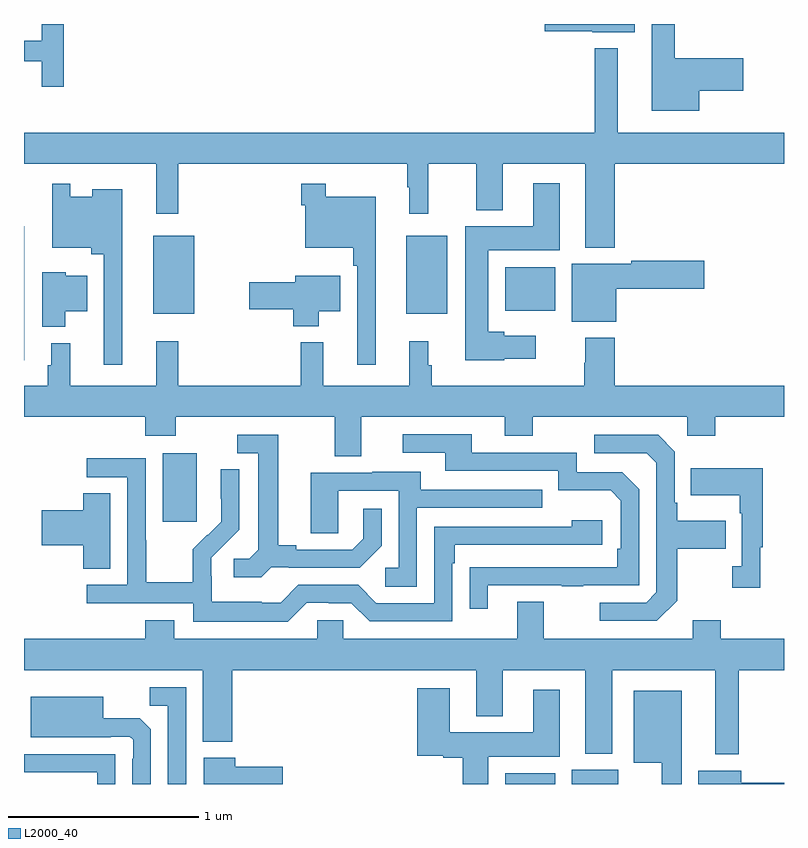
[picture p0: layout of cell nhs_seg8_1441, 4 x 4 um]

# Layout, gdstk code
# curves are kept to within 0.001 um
import gdstk
lib = gdstk.Library(unit=1e-6, precision=1e-09)
def R(c, l, rs):  # rectangles x0, y0, x1, y1
    for r in rs: c.add(gdstk.rectangle(r[:2], r[2:], *l))
def P(c, l, *ps):  # polygons
    for p in ps: c.add(gdstk.Polygon(p, *l))
L2000_40 = (2000, 40)

nhs_seg8_1441 = lib.new_cell('nhs_seg8_1441')
R(nhs_seg8_1441, L2000_40, [(205.532,1115.9,205.795,1115.956), (205.883,1115.9,206.128,1115.974), (203.729,1117.281,203.908,1117.642), (203,1118.129,203.002,1118.836), (203.681,1118.375,203.896,1118.785), (205.013,1118.375,205.228,1118.785), (205.532,1118.39,205.795,1118.62)])
P(nhs_seg8_1441, L2000_40, [(203.21,1119.9),(203.094,1119.9),(203.094,1119.813),(203,1119.813),(203,1119.705),(203.093,1119.705),(203.093,1119.57),(203.21,1119.57)],
  [(206.554,1119.548),(206.785,1119.548),(206.785,1119.719),(206.425,1119.719),(206.425,1119.9),(206.303,1119.9),(206.303,1119.443),(206.554,1119.443)],
  [(206.215,1119.9),(205.74,1119.9),(205.74,1119.863),(205.992,1119.863),(205.992,1119.857),(206.215,1119.857)],
  [(203,1119.164),(203.696,1119.164),(203.696,1118.901),(203.813,1118.901),(203.813,1119.164),(205.017,1119.164),(205.017,1119.041),(205.028,1119.041),(205.028,1118.901),(205.128,1118.901),(205.128,1119.164),(205.379,1119.164),(205.379,1118.921),(205.519,1118.921),(205.519,1119.164),(205.955,1119.164),(205.955,1118.723),(206.108,1118.723),(206.108,1119.164),(207,1119.164),(207,1119.328),(206.125,1119.328),(206.125,1119.772),(206.004,1119.772),(206.004,1119.328),(203,1119.328)],
  [(205.527,1118.138),(205.693,1118.138),(205.693,1118.26),(205.527,1118.26),(205.527,1118.281),(205.444,1118.281),(205.444,1118.708),(205.819,1118.708),(205.819,1119.061),(205.679,1119.061),(205.679,1118.836),(205.322,1118.836),(205.322,1118.129),(205.527,1118.129)],
  [(204.85,1118.992),(204.589,1118.992),(204.589,1119.058),(204.46,1119.058),(204.46,1118.945),(204.48,1118.945),(204.48,1118.723),(204.733,1118.723),(204.733,1118.627),(204.753,1118.627),(204.753,1118.106),(204.85,1118.106)],
  [(203.518,1119.031),(203.36,1119.031),(203.36,1118.992),(203.244,1118.992),(203.244,1119.058),(203.148,1119.058),(203.148,1118.723),(203.353,1118.723),(203.353,1118.687),(203.421,1118.687),(203.421,1118.106),(203.518,1118.106)],
  [(206.116,1118.507),(206.581,1118.507),(206.581,1118.654),(206.196,1118.654),(206.196,1118.638),(205.883,1118.638),(205.883,1118.333),(206.116,1118.333)],
  [(203.218,1118.387),(203.332,1118.387),(203.332,1118.575),(203.22,1118.575),(203.22,1118.593),(203.096,1118.593),(203.096,1118.306),(203.218,1118.306)],
  [(204.55,1118.387),(204.664,1118.387),(204.664,1118.575),(204.428,1118.575),(204.428,1118.54),(204.186,1118.54),(204.186,1118.398),(204.416,1118.398),(204.416,1118.309),(204.55,1118.309)],
  [(204.775,1117.832),(205.529,1117.832),(205.529,1117.733),(205.677,1117.733),(205.677,1117.832),(206.49,1117.832),(206.49,1117.733),(206.637,1117.733),(206.637,1117.832),(207,1117.832),(207,1117.996),(206.108,1117.996),(206.108,1118.248),(205.955,1118.248),(205.955,1118.117),(205.948,1118.117),(205.948,1117.996),(205.145,1117.996),(205.145,1118.105),(205.127,1118.105),(205.127,1118.23),(205.028,1118.23),(205.028,1117.996),(204.575,1117.996),(204.575,1118.224),(204.457,1118.224),(204.457,1117.996),(203.813,1117.996),(203.813,1118.23),(203.696,1118.23),(203.696,1117.996),(203.243,1117.996),(203.243,1118.221),(203.144,1118.221),(203.144,1118.103),(203.125,1118.103),(203.125,1117.996),(203,1117.996),(203,1117.832),(203.639,1117.832),(203.639,1117.733),(203.799,1117.733),(203.799,1117.832),(204.635,1117.832),(204.635,1117.624),(204.775,1117.624)],
  [(205.441,1116.945),(205.831,1116.945),(205.831,1116.94),(205.943,1116.94),(205.943,1116.945),(206.238,1116.945),(206.238,1117.452),(206.148,1117.542),(205.908,1117.542),(205.908,1117.644),(205.357,1117.644),(205.357,1117.74),(204.993,1117.74),(204.993,1117.644),(205.217,1117.644),(205.217,1117.548),(205.812,1117.548),(205.812,1117.445),(206.089,1117.445),(206.142,1117.392),(206.142,1117.138),(206.122,1117.138),(206.122,1117.041),(205.345,1117.04),(205.345,1116.822),(205.441,1116.822)],
  [(204.3,1117.041),(204.394,1117.041),(204.394,1117.038),(204.766,1117.038),(204.882,1117.154),(204.882,1117.348),(204.785,1117.348),(204.785,1117.191),(204.728,1117.134),(204.433,1117.134),(204.433,1117.157),(204.337,1117.157),(204.337,1117.737),(204.123,1117.737),(204.123,1117.641),(204.233,1117.641),(204.233,1117.133),(204.186,1117.086),(204.105,1117.086),(204.105,1116.989),(204.248,1116.989)],
  [(206.437,1116.865),(206.437,1117.138),(206.693,1117.138),(206.693,1117.285),(206.437,1117.285),(206.437,1117.381),(206.424,1117.381),(206.424,1117.65),(206.337,1117.737),(206.001,1117.737),(206.001,1117.641),(206.277,1117.641),(206.328,1117.59),(206.328,1116.909),(206.274,1116.855),(206.031,1116.855),(206.031,1116.759),(206.331,1116.759)],
  [(204.489,1116.855),(204.605,1116.855),(204.605,1116.852),(204.723,1116.852),(204.819,1116.756),(205.254,1116.756),(205.254,1117.061),(205.267,1117.061),(205.267,1117.158),(206.044,1117.158),(206.044,1117.288),(205.883,1117.288),(205.883,1117.254),(205.158,1117.254),(205.158,1116.852),(204.855,1116.852),(204.759,1116.948),(204.444,1116.948),(204.351,1116.855),(204.251,1116.855),(204.251,1116.859),(203.988,1116.859),(203.988,1116.993),(203.986,1116.993),(203.986,1117.09),(204.132,1117.238),(204.132,1117.556),(204.036,1117.556),(204.036,1117.402),(204.038,1117.402),(204.038,1117.28),(203.967,1117.209),(203.964,1117.212),(203.887,1117.135),(203.887,1116.961),(203.643,1116.961),(203.643,1117.184),(203.64,1117.184),(203.64,1117.614),(203.331,1117.614),(203.331,1117.515),(203.544,1117.515),(203.544,1116.948),(203.331,1116.948),(203.331,1116.852),(203.892,1116.852),(203.892,1116.755),(204.389,1116.755)],
  [(206.875,1117.145),(206.887,1117.145),(206.887,1117.561),(206.509,1117.561),(206.509,1117.421),(206.766,1117.421),(206.766,1117.325),(206.778,1117.325),(206.778,1117.046),(206.727,1117.046),(206.727,1116.933),(206.875,1116.933)],
  [(205.068,1117.353),(205.727,1117.353),(205.727,1117.449),(205.087,1117.449),(205.087,1117.543),(204.833,1117.543),(204.833,1117.539),(204.509,1117.539),(204.509,1117.219),(204.654,1117.219),(204.654,1117.443),(204.972,1117.443),(204.972,1117.038),(204.9,1117.038),(204.9,1116.937),(205.068,1116.937)],
  [(203.455,1117.43),(203.312,1117.43),(203.312,1117.34),(203.094,1117.34),(203.094,1117.157),(203.312,1117.157),(203.312,1117.033),(203.455,1117.033)],
  [(206.761,1116.5),(207,1116.5),(207,1116.664),(206.667,1116.664),(206.667,1116.763),(206.519,1116.763),(206.519,1116.664),(205.735,1116.664),(205.735,1116.859),(205.595,1116.859),(205.595,1116.664),(204.681,1116.664),(204.681,1116.762),(204.543,1116.762),(204.543,1116.664),(203.791,1116.664),(203.791,1116.763),(203.639,1116.763),(203.639,1116.664),(203,1116.664),(203,1116.5),(203.942,1116.5),(203.942,1116.122),(204.095,1116.122),(204.095,1116.5),(205.379,1116.5),(205.379,1116.257),(205.519,1116.257),(205.519,1116.5),(205.955,1116.5),(205.955,1116.059),(206.095,1116.059),(206.095,1116.5),(206.639,1116.5),(206.639,1116.056),(206.761,1116.056)],
  [(203.853,1116.408),(203.662,1116.408),(203.662,1116.313),(203.757,1116.313),(203.757,1115.9),(203.853,1115.9)],
  [(205.444,1116.044),(205.819,1116.044),(205.819,1116.397),(205.679,1116.397),(205.679,1116.172),(205.24,1116.172),(205.24,1116.403),(205.07,1116.403),(205.07,1116.05),(205.206,1116.05),(205.206,1116.038),(205.31,1116.038),(205.31,1115.9),(205.444,1115.9)],
  [(206.461,1116.391),(206.21,1116.391),(206.21,1116.011),(206.357,1116.011),(206.357,1115.9),(206.461,1115.9)],
  [(203.667,1116.188),(203.608,1116.247),(203.416,1116.247),(203.416,1116.358),(203.036,1116.358),(203.036,1116.146),(203.456,1116.146),(203.456,1116.15),(203.556,1116.15),(203.574,1116.132),(203.574,1116.032),(203.571,1116.032),(203.571,1115.9),(203.667,1115.9)],
  [(203.481,1116.057),(203,1116.057),(203,1115.961),(203.385,1115.961),(203.385,1115.9),(203.481,1115.9)],
  [(204.361,1115.99),(204.112,1115.99),(204.112,1116.037),(203.945,1116.037),(203.945,1115.9),(204.361,1115.9)],
  [(207,1115.906),(206.776,1115.906),(206.776,1115.971),(206.549,1115.971),(206.549,1115.9),(207,1115.9)])

lib.write_gds('nhs_seg8_1441.gds')
